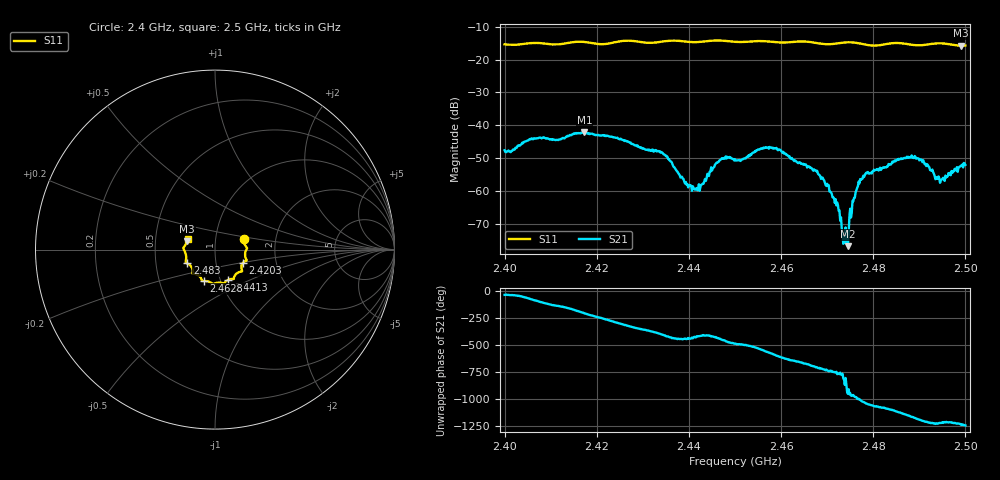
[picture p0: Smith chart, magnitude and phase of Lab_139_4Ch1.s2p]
# Hz S RI R 50
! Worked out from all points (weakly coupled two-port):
!   601 points, 2.4 GHz to 2.5 GHz, reference 50 ohm
!   highest |S21| = -42.21 dB at 2.4173 GHz (marker M1); lowest = -76.8 dB at 2.4745 GHz (marker M2)
!   lowest |S11| = -15.8 dB at 2.499 GHz (marker M3), VSWR 1.39, Z = 36.4 + j3.38 ohm
!   |S11| at or under -10 dB: start of sweep to end of sweep
!   S12 and S22 are empty: the file has one direction only
!   S11 on the Smith chart (normalised r, x): 2.4 GHz: 1.37, +0.16; 2.4203 GHz: 1.35, -0.21; 2.4413 GHz: 1.09, -0.38; 2.4628 GHz: 0.83, -0.30; 2.483 GHz: 0.72, -0.11; 2.5 GHz: 0.73, +0.09
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2.4e9  0.1605 0.0571  0.00336 -0.00243  0 0  0 0
2.416667e9  0.1761 -0.0612  -0.00735 0.00227  0 0  0 0
2.417333e9  0.1742 -0.062  -0.00686 0.00361  0 0  0 0
2.420333e9  0.1555 -0.0739  -0.00305 0.00644  0 0  0 0
2.433333e9  0.108 -0.1484  0.00341 -0.00216  0 0  0 0
2.441333e9  0.0743 -0.1681  0.000393 -0.000964  0 0  0 0
2.446833e9  0.0479 -0.1885  0.000305 -0.00295  0 0  0 0
2.45e9  0.0294 -0.1838  -0.00185 -0.0024  0 0  0 0
2.457167e9  -0.0177 -0.1877  -0.00404 0.00216  0 0  0 0
2.462833e9  -0.0629 -0.1749  0.000834 0.00271  0 0  0 0
2.466667e9  -0.0743 -0.1675  0.00199 0.000953  0 0  0 0
2.471833e9  -0.1095 -0.1358  0.000614 -0.000422  0 0  0 0
2.474e9  -0.1229 -0.1344  1.38e-05 -0.000276  0 0  0 0
2.4745e9  -0.1244 -0.1341  -8.41e-05 0.000117  0 0  0 0
2.476e9  -0.1249 -0.1304  -0.000108 0.000779  0 0  0 0
2.477333e9  -0.1241 -0.122  0.000679 0.0013  0 0  0 0
2.483e9  -0.1548 -0.0767  0.0023 -0.000543  0 0  0 0
2.483333e9  -0.1569 -0.0757  0.00247 -0.000693  0 0  0 0
2.488833e9  -0.1604 -0.0431  -0.000292 -0.00314  0 0  0 0
2.495e9  -0.1757 0.0108  -0.00114 -0.00101  0 0  0 0
2.499e9  -0.1554 0.0452  -0.00227 -0.000812  0 0  0 0
2.5e9  -0.1525 0.0586  -0.00243 -0.000526  0 0  0 0
